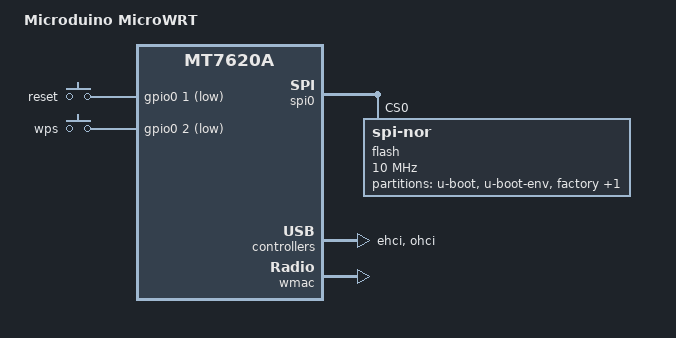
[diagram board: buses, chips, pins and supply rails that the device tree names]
#include "mt7620a.dtsi"

#include <dt-bindings/gpio/gpio.h>
#include <dt-bindings/input/input.h>

/ {
	compatible = "microduino,microwrt", "ralink,mt7620a-soc";
	model = "Microduino MicroWRT";

	chosen {
		bootargs = "console=ttyS0,115200";
	};

	keys {
		compatible = "gpio-keys";

		reset {
			label = "reset";
			gpios = <&gpio0 1 GPIO_ACTIVE_LOW>;
			linux,code = <KEY_RESTART>;
		};

		wps {
			label = "wps";
			gpios = <&gpio0 2 GPIO_ACTIVE_LOW>;
			linux,code = <KEY_WPS_BUTTON>;
		};
	};
};

&spi0 {
	status = "okay";

	flash@0 {
		compatible = "jedec,spi-nor";
		reg = <0>;
		spi-max-frequency = <10000000>;

		partitions {
			compatible = "fixed-partitions";
			#address-cells = <1>;
			#size-cells = <1>;

			partition@0 {
				label = "u-boot";
				reg = <0x0 0x20000>;
				read-only;
			};

			partition@20000 {
				label = "u-boot-env";
				reg = <0x20000 0x10000>;
				read-only;
			};

			factory: partition@30000 {
				compatible = "nvmem-cells";
				label = "factory";
				reg = <0x30000 0x10000>;
				#address-cells = <1>;
				#size-cells = <1>;
				read-only;

				eeprom_factory_0: eeprom@0 {
					reg = <0x0 0x200>;
				};

				macaddr_factory_4: macaddr@4 {
					reg = <0x4 0x6>;
				};
			};

			partition@40000 {
				compatible = "denx,uimage";
				label = "firmware";
				reg = <0x40000 0xfc0000>;
			};
		};
	};
};

&ehci {
	status = "okay";
};

&ohci {
	status = "okay";
};

&ethernet {
	pinctrl-names = "default";
	pinctrl-0 = <&ephy_pins>;

	nvmem-cells = <&macaddr_factory_4>;
	nvmem-cell-names = "mac-address";

	mediatek,portmap = "llllw";
};

&wmac {
	nvmem-cells = <&eeprom_factory_0>;
	nvmem-cell-names = "eeprom";
};

&state_default {
	default {
		groups = "wled", "i2c", "wdt", "uartf";
		function = "gpio";
	};
};
